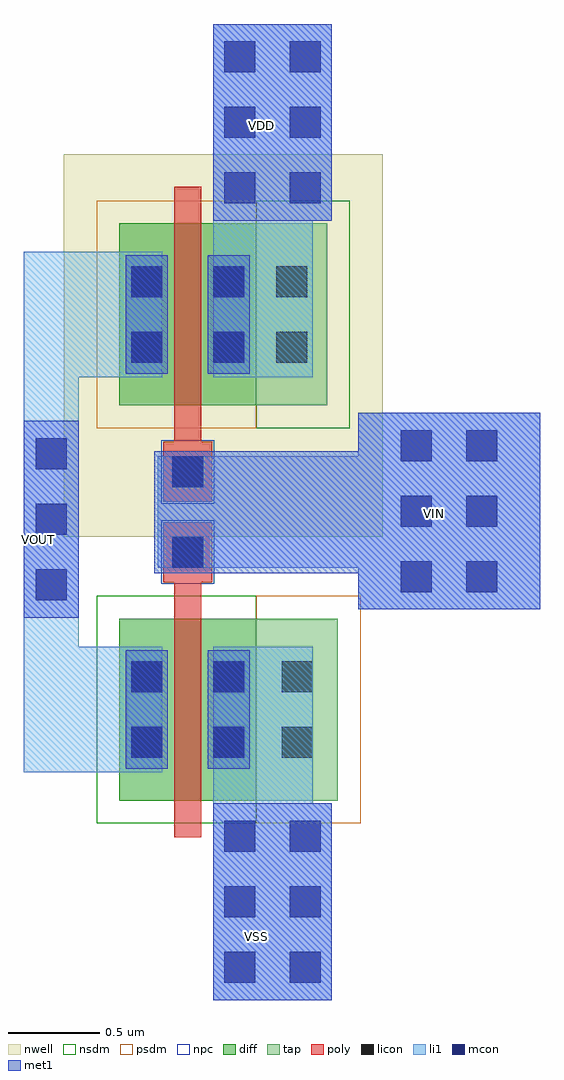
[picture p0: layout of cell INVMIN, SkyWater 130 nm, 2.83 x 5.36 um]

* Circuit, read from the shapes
.subckt INVMIN VDD VIN VOUT VSS
XM1 VSS VIN VOUT VSS sky130_fd_pr__nfet_01v8 w=1 l=0.15
XM2 VDD VIN VOUT VDD sky130_fd_pr__pfet_01v8 w=1 l=0.15
.ends

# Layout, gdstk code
import gdstk
lib = gdstk.Library(unit=1e-6, precision=5e-09)
def R(c, l, rs):  # rectangles x0, y0, x1, y1
    for r in rs: c.add(gdstk.rectangle(r[:2], r[2:], *l))
def A(c, l, x, y, w, h, nx, ny, dx, dy):  # array of equal rectangles
    R(c, l, [(x+i*dx, y+j*dy, x+i*dx+w, y+j*dy+h) for i in range(nx) for j in range(ny)])
nwell = (64, 20)
diff = (65, 20)
tap = (65, 44)
poly = (66, 20)
licon = (66, 44)
li1 = (67, 20)
mcon = (67, 44)
met1 = (68, 20)
nsdm = (93, 44)
psdm = (94, 20)
npc = (95, 20)

vias_gen_2 = lib.new_cell('vias_gen$2')
R(vias_gen_2, li1, [(0,0,0.65,1.08)])
A(vias_gen_2, mcon, 0.06, 0.095, 0.17, 0.17, 1, 3, 0, 0.36)
A(vias_gen_2, mcon, 0.42, 0.095, 0.17, 0.17, 1, 3, 0, 0.36)
R(vias_gen_2, met1, [(0,0,0.65,1.08)])

pfet_1 = lib.new_cell('pfet$1')
R(pfet_1, nwell, [(-0.305,-0.72,1.445,1.38)])
R(pfet_1, diff, [(0,0,0.75,1)])
R(pfet_1, tap, [(0.75,0,1.14,1)])
R(pfet_1, poly, [(0.24,-0.53,0.51,-0.2), (0.3,-0.2,0.45,1.2)])
R(pfet_1, licon, [(0.29,-0.45,0.46,-0.28), (0.065,0.235,0.235,0.405), (0.515,0.235,0.685,0.405), (0.86,0.235,1.03,0.405), (0.065,0.595,0.235,0.765), (0.515,0.595,0.685,0.765), (0.86,0.595,1.03,0.765)])
R(pfet_1, li1, [(0.21,-0.45,0.54,-0.28), (0.065,0.155,0.235,0.845), (0.515,0.155,0.685,0.845), (0.86,0.155,1.03,0.845)])
R(pfet_1, mcon, [(0.29,-0.45,0.46,-0.28), (0.065,0.235,0.235,0.405), (0.515,0.235,0.685,0.405), (0.065,0.595,0.235,0.765), (0.515,0.595,0.685,0.765)])
R(pfet_1, met1, [(0.19,-0.48,0.56,-0.25), (0.035,0.175,0.265,0.825), (0.485,0.175,0.715,0.825)])
R(pfet_1, nsdm, [(0.75,-0.125,1.265,1.125)])
R(pfet_1, psdm, [(-0.125,-0.125,0.75,1.125)])
R(pfet_1, npc, [(0.23,-0.54,0.52,-0.19)])

vias_gen_3 = lib.new_cell('vias_gen$3')
R(vias_gen_3, li1, [(0,0,1,1.08)])
A(vias_gen_3, mcon, 0.235, 0.095, 0.17, 0.17, 1, 3, 0, 0.36)
A(vias_gen_3, mcon, 0.595, 0.095, 0.17, 0.17, 1, 3, 0, 0.36)
R(vias_gen_3, met1, [(0,0,1,1.08)])

nfet = lib.new_cell('nfet')
R(nfet, diff, [(0,0,0.75,1)])
R(nfet, tap, [(0.75,0,1.2,1)])
R(nfet, poly, [(0.3,-0.2,0.45,1.2), (0.24,1.2,0.51,1.53)])
R(nfet, licon, [(0.065,0.235,0.235,0.405), (0.515,0.235,0.685,0.405), (0.89,0.235,1.06,0.405), (0.065,0.595,0.235,0.765), (0.515,0.595,0.685,0.765), (0.89,0.595,1.06,0.765), (0.29,1.28,0.46,1.45)])
R(nfet, li1, [(0.065,0.155,0.235,0.845), (0.515,0.155,0.685,0.845), (0.89,0.155,1.06,0.845), (0.21,1.28,0.54,1.45)])
R(nfet, mcon, [(0.065,0.235,0.235,0.405), (0.515,0.235,0.685,0.405), (0.065,0.595,0.235,0.765), (0.515,0.595,0.685,0.765), (0.29,1.28,0.46,1.45)])
R(nfet, met1, [(0.035,0.175,0.265,0.825), (0.485,0.175,0.715,0.825), (0.19,1.25,0.56,1.48)])
R(nfet, nsdm, [(-0.125,-0.125,0.75,1.125)])
R(nfet, psdm, [(0.75,-0.125,1.325,1.125)])
R(nfet, npc, [(0.23,1.19,0.52,1.54)])

vias_gen = lib.new_cell('vias_gen')
R(vias_gen, li1, [(0,0,0.3,1.08)])
A(vias_gen, mcon, 0.065, 0.095, 0.17, 0.17, 1, 3, 0, 0.36)
R(vias_gen, met1, [(0,0,0.3,1.08)])

invmin = lib.new_cell('INVMIN')
R(invmin, li1, [(-0.085,-2.115,0.46,-1.255), (-1.125,-1.945,-0.535,-1.255), (-1.125,-1.255,-0.825,0.225), (-0.39,-0.82,0.905,-0.21), (-1.125,0.225,-0.535,0.915), (-0.085,0.225,0.46,1.085)])
R(invmin, met1, [(-0.41,-0.85,0.815,-0.18)])
invmin.add(gdstk.Reference(vias_gen_2, (-0.085,1.085)))
invmin.add(gdstk.Reference(pfet_1, (-0.6,0.07)))
invmin.add(gdstk.Reference(vias_gen_3, (0.71,-1.05)))
invmin.add(gdstk.Reference(vias_gen_2, (-0.085,-3.195)))
invmin.add(gdstk.Reference(nfet, (-0.6,-2.1)))
invmin.add(gdstk.Reference(vias_gen, (-1.125,-1.095)))
invmin.add(gdstk.Label('VSS', (0.155,-2.845), layer=68, texttype=5))
invmin.add(gdstk.Label('VDD', (0.18,1.61), layer=68, texttype=5))
invmin.add(gdstk.Label('VIN', (1.13,-0.525), layer=68, texttype=5))
invmin.add(gdstk.Label('VOUT', (-1.045,-0.665), layer=68, texttype=5))

lib.write_gds('INVMIN.gds')
